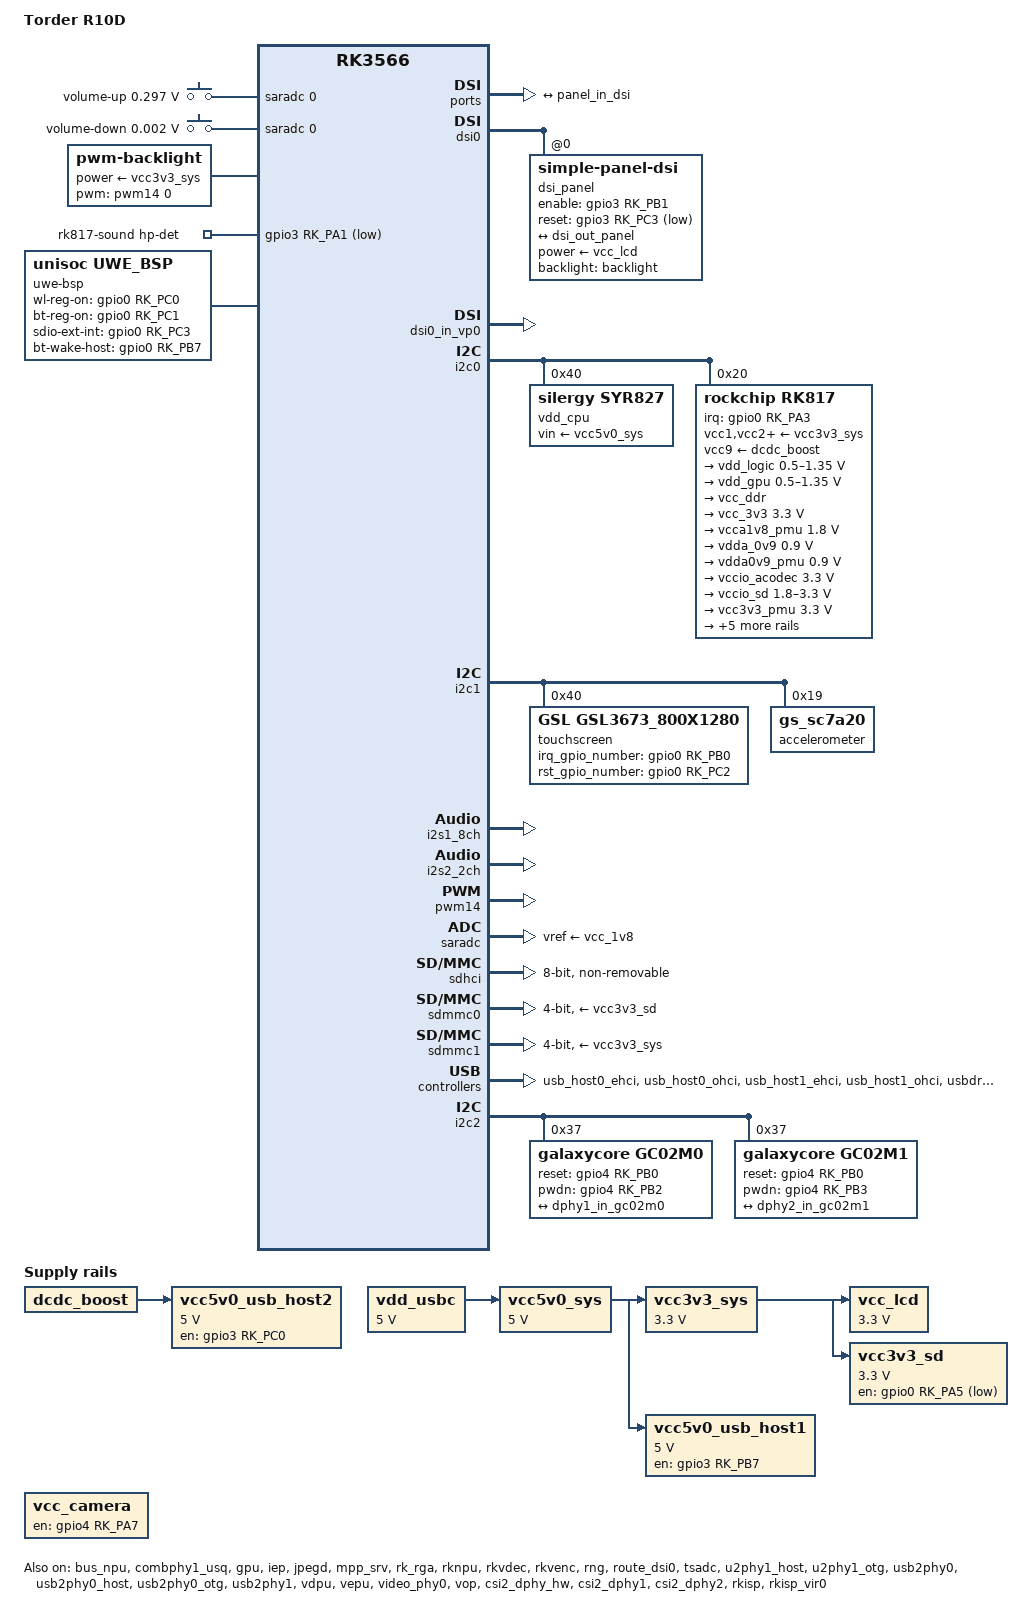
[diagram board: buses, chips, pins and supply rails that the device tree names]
// SPDX-License-Identifier: GPL-2.0-only
/*
 * Torder R10D tablet: board wiring and configuration for the vendor 6.1 kernel.
 * Board parameters were recovered from the stock Android 11 DTB.
 */
/dts-v1/;

#include "rk3566.dtsi"
#include <dt-bindings/gpio/gpio.h>
#include <dt-bindings/input/input.h>
#include <dt-bindings/pinctrl/rockchip.h>

/ {
	compatible = "torder,r10d", "rockchip,rk3566";
	model = "Torder R10D";

	chosen: chosen {
		bootargs = "earlycon=uart8250,mmio32,0xfe660000 console=ttyFIQ0,1500000 ";
	};

	fiq-debugger {
		compatible = "rockchip,fiq-debugger";
		rockchip,serial-id = <2>;
		rockchip,wake-irq = <0>;
		rockchip,irq-mode-enable = <1>;
		rockchip,baudrate = <1500000>;
		interrupts = <0 0xfc 8>;
		pinctrl-names = "default";
		pinctrl-0 = <&uart2m0_xfer>;
		status = "okay";
	};

	adc-keys {
		compatible = "adc-keys";
		io-channels = <&saradc 0>;
		io-channel-names = "buttons";
		keyup-threshold-microvolt = <1800000>;
		poll-interval = <100>;

		vol-up-key {
			label = "volume-up";
			linux,code = <KEY_VOLUMEUP>;
			press-threshold-microvolt = <297500>;
		};

		vol-down-key {
			label = "volume-down";
			linux,code = <KEY_VOLUMEDOWN>;
			press-threshold-microvolt = <1750>;
		};
	};

	backlight: backlight {
		compatible = "pwm-backlight";
		power-supply = <&vcc3v3_sys>;
		pwms = <&pwm14 0 25000 0>;
		brightness-levels = <
			0 20 20 21 21 22 22 23
			23 24 24 25 25 26 26 27
			27 28 28 29 29 30 30 31
			31 32 32 33 33 34 34 35
			35 36 36 37 37 38 38 39
			40 41 42 43 44 45 46 47
			48 49 50 51 52 53 54 55
			56 57 58 59 60 61 62 63
			64 65 66 67 68 69 70 71
			72 73 74 75 76 77 78 79
			80 81 82 83 84 85 86 87
			88 89 90 91 92 93 94 95
			96 97 98 99 100 101 102 103
			104 105 106 107 108 109 110 111
			112 113 114 115 116 117 118 119
			120 121 122 123 124 125 126 127
			128 129 130 131 132 133 134 135
			136 137 138 139 140 141 142 143
			144 145 146 147 148 149 150 151
			152 153 154 155 156 157 158 159
			160 161 162 163 164 165 166 167
			168 169 170 171 172 173 174 175
			176 177 178 179 180 181 182 183
			184 185 186 187 188 189 190 191
			192 193 194 195 196 197 198 199
			200 201 202 203 204 205 206 207
			208 209 210 211 212 213 214 215
			216 217 218 219 220 221 222 223
			224 225 226 227 228 229 230 231
			232 233 234 235 236 237 238 239
			240 241 242 243 244 245 246 247
			248 249 250 251 252 253 254 255
		>;
		default-brightness-level = <128>;
	};

	rk817-sound {
		compatible = "rockchip,multicodecs-card";
		rockchip,card-name = "rockchip-rk817";
		hp-det-gpio = <&gpio3 RK_PA1 GPIO_ACTIVE_LOW>;
		rockchip,format = "i2s";
		rockchip,mclk-fs = <256>;
		rockchip,cpu = <&i2s1_8ch>;
		rockchip,codec = <&rk817_codec>;
		pinctrl-names = "default";
		pinctrl-0 = <&hp_det>;
		status = "okay";
	};

	bt_sco: bt-sco {
		compatible = "delta,dfbmcs320";
		#sound-dai-cells = <0>;
		status = "okay";
	};

	bt-sound {
		compatible = "simple-audio-card";
		simple-audio-card,format = "dsp_b";
		simple-audio-card,bitclock-inversion = <1>;
		simple-audio-card,mclk-fs = <256>;
		simple-audio-card,name = "rockchip,bt";
		simple-audio-card,bitclock-master = <&bt_codec>;
		simple-audio-card,frame-master = <&bt_codec>;
		simple-audio-card,widgets = "Microphone", "RX", "Speaker", "TX";
		simple-audio-card,routing = "BT_SCO_TX", "RX", "TX", "BT_SCO_RX";

		bt_codec: simple-audio-card,codec {
			sound-dai = <&bt_sco>;
		};

		simple-audio-card,cpu {
			sound-dai = <&i2s2_2ch>;
		};
	};

	uwe-bsp {
		compatible = "unisoc,uwe_bsp";
		sdhci-name = <289>;
		wl-reg-on = <&gpio0 RK_PC0 GPIO_ACTIVE_HIGH>;
		bt-reg-on = <&gpio0 RK_PC1 GPIO_ACTIVE_HIGH>;
		sdio-ext-int-gpio = <&gpio0 RK_PC3 GPIO_ACTIVE_HIGH>;
		unisoc,btwf-file-name = "/lib/firmware/uwe5621ds/wcnmodem.bin";
		bt-wake-host;
		bt-wake-host-gpio = <&gpio0 RK_PB7 GPIO_ACTIVE_HIGH>;
		blksz-512;
		keep-power-on;
		sdma-tx;
		sdma-rx;
		status = "okay";
	};

	vdd_usbc: vdd-usbc-regulator {
		compatible = "regulator-fixed";
		regulator-name = "vdd_usbc";
		regulator-always-on;
		regulator-boot-on;
		regulator-min-microvolt = <5000000>;
		regulator-max-microvolt = <5000000>;
	};

	vcc3v3_sys: regulator-vcc3v3-sys {
		compatible = "regulator-fixed";
		regulator-name = "vcc3v3_sys";
		regulator-always-on;
		regulator-boot-on;
		regulator-min-microvolt = <3300000>;
		regulator-max-microvolt = <3300000>;
		vin-supply = <&vcc5v0_sys>;
	};

	vcc_lcd: regulator-vcc-lcd {
		compatible = "regulator-fixed";
		regulator-name = "vcc_lcd";
		regulator-always-on;
		regulator-boot-on;
		regulator-min-microvolt = <3300000>;
		regulator-max-microvolt = <3300000>;
		vin-supply = <&vcc3v3_sys>;
	};

	vcc5v0_sys: regulator-vcc5v0-sys {
		compatible = "regulator-fixed";
		regulator-name = "vcc5v0_sys";
		regulator-always-on;
		regulator-boot-on;
		regulator-min-microvolt = <5000000>;
		regulator-max-microvolt = <5000000>;
		vin-supply = <&vdd_usbc>;
	};

	vcc5v0_usb_host1: regulator-vcc5v0-usb2-host1 {
		compatible = "regulator-fixed";
		enable-active-high;
		gpio = <&gpio3 RK_PB7 GPIO_ACTIVE_HIGH>;
		pinctrl-names = "default";
		pinctrl-0 = <&vcc5v0_usb_host1_en>;
		regulator-name = "vcc5v0_usb2_host1";
		regulator-always-on;
		regulator-boot-on;
		regulator-min-microvolt = <5000000>;
		regulator-max-microvolt = <5000000>;
		vin-supply = <&vcc5v0_sys>;
	};

	vcc5v0_usb_host2: regulator-vcc5v0-usb2-host2 {
		compatible = "regulator-fixed";
		enable-active-high;
		gpio = <&gpio3 RK_PC0 GPIO_ACTIVE_HIGH>;
		pinctrl-names = "default";
		pinctrl-0 = <&vcc5v0_usb_host2_en>;
		regulator-name = "vcc5v0_usb2_host2";
		regulator-always-on;
		regulator-boot-on;
		regulator-min-microvolt = <5000000>;
		regulator-max-microvolt = <5000000>;
		vin-supply = <&dcdc_boost>;
	};

	vcc3v3_sd: vcc3v3_sd {
		compatible = "regulator-fixed";
		gpio = <&gpio0 RK_PA5 GPIO_ACTIVE_LOW>;
		pinctrl-names = "default";
		pinctrl-0 = <&vcc_sd_h>;
		regulator-boot-on;
		regulator-name = "vcc3v3_sd";
		regulator-min-microvolt = <3300000>;
		regulator-max-microvolt = <3300000>;
		vin-supply = <&vcc3v3_sys>;
	};

	vcc_camera: regulator-vcc-camera {
		compatible = "regulator-fixed";
		regulator-name = "vcc_camera";
		regulator-always-on;
		regulator-boot-on;
		enable-active-high;
		gpio = <&gpio4 RK_PA7 GPIO_ACTIVE_HIGH>;
		pinctrl-names = "default";
		pinctrl-0 = <&camera_power_en>;
	};
};

&{/dsi@fe060000/ports} {

	port@1 {
		reg = <1>;

		dsi_out_panel: endpoint {
			remote-endpoint = <&panel_in_dsi>;
		};
	};
};

&{/pinctrl/pmic} {

	pmic_int_l: pmic-int {
		rockchip,pins = <0 RK_PA3 0 &pcfg_pull_up>;
	};

	soc_slppin_gpio: soc_slppin_gpio {
		rockchip,pins = <0 RK_PA2 0 &pcfg_output_low>;
	};

	soc_slppin_slp: soc_slppin_slp {
		rockchip,pins = <0 RK_PA2 1 &pcfg_pull_none>;
	};

	soc_slppin_rst: soc_slppin_rst {
		rockchip,pins = <0 RK_PA2 2 &pcfg_pull_none>;
	};
};

&bus_npu {
	bus-supply = <&vdd_logic>;
	pvtm-supply = <&vdd_cpu>;
	status = "okay";
};

&combphy1_usq {
	status = "okay";
};

&cpu0 {
	cpu-supply = <&vdd_cpu>;
};

&cpu1 {
	cpu-supply = <&vdd_cpu>;
};

&cpu2 {
	cpu-supply = <&vdd_cpu>;
};

&cpu3 {
	cpu-supply = <&vdd_cpu>;
};

&dsi0 {
	status = "okay";

	dsi_panel: panel@0 {
		status = "okay";
		compatible = "simple-panel-dsi";
		reg = <0>;
		backlight = <&backlight>;
		enable-gpios = <&gpio3 RK_PB1 GPIO_ACTIVE_HIGH>;
		reset-gpios = <&gpio3 RK_PC3 GPIO_ACTIVE_LOW>;
		pinctrl-names = "default";
		pinctrl-0 = <&lcd_rst &lcd_en>;
		power-supply = <&vcc_lcd>;
		enable-delay-ms = <120>;
		prepare-delay-ms = <20>;
		reset-delay-ms = <20>;
		init-delay-ms = <20>;
		unprepare-delay-ms = <20>;
		disable-delay-ms = <20>;
		size,width = <135>;
		size,height = <216>;
		dsi,flags = <0x803>;
		dsi,format = <0>;
		dsi,lanes = <4>;
		panel-init-sequence = [
			15 00 02 e0 00 15 00 02 e1 93 15 00 02 e2 65 15
			00 02 e3 f8 15 00 02 80 03 15 00 02 e0 01 15 00
			02 00 00 15 00 02 01 3c 15 00 02 17 00 15 00 02
			0c 74 15 00 02 18 af 15 00 02 19 01 15 00 02 1a
			00 15 00 02 1b af 15 00 02 1c 01 15 00 02 1f 3e
			15 00 02 20 28 15 00 02 21 28 15 00 02 22 7e 15
			00 02 35 26 15 00 02 37 09 15 00 02 38 04 15 00
			02 39 00 15 00 02 3a 01 15 00 02 3c 7c 15 00 02
			3d ff 15 00 02 3e ff 15 00 02 3f 7f 15 00 02 40
			06 15 00 02 41 a0 15 00 02 42 81 15 00 02 43 08
			15 00 02 44 0b 15 00 02 45 28 15 00 02 55 02 15
			00 02 57 69 15 00 02 59 0a 15 00 02 5a 28 15 00
			02 5b 14 15 00 02 5d 7c 15 00 02 5e 65 15 00 02
			5f 55 15 00 02 60 47 15 00 02 61 43 15 00 02 62
			32 15 00 02 63 34 15 00 02 64 1c 15 00 02 65 33
			15 00 02 66 31 15 00 02 67 30 15 00 02 68 4e 15
			00 02 69 3c 15 00 02 6a 44 15 00 02 6b 35 15 00
			02 6c 31 15 00 02 6d 23 15 00 02 6e 11 15 00 02
			6f 00 15 00 02 70 7c 15 00 02 71 65 15 00 02 72
			55 15 00 02 73 47 15 00 02 74 43 15 00 02 75 32
			15 00 02 76 34 15 00 02 77 1c 15 00 02 78 33 15
			00 02 79 31 15 00 02 7a 30 15 00 02 7b 4e 15 00
			02 7c 3c 15 00 02 7d 44 15 00 02 7e 35 15 00 02
			7f 31 15 00 02 80 23 15 00 02 81 11 15 00 02 82
			00 15 00 02 e0 02 15 00 02 00 1e 15 00 02 01 1e
			15 00 02 02 41 15 00 02 03 41 15 00 02 04 43 15
			00 02 05 43 15 00 02 06 1f 15 00 02 07 1f 15 00
			02 08 35 15 00 02 09 1f 15 00 02 0a 15 15 00 02
			0b 15 15 00 02 0c 1f 15 00 02 0d 47 15 00 02 0e
			47 15 00 02 0f 45 15 00 02 10 45 15 00 02 11 4b
			15 00 02 12 4b 15 00 02 13 49 15 00 02 14 49 15
			00 02 15 1f 15 00 02 16 1e 15 00 02 17 1e 15 00
			02 18 40 15 00 02 19 40 15 00 02 1a 42 15 00 02
			1b 42 15 00 02 1c 1f 15 00 02 1d 1f 15 00 02 1e
			35 15 00 02 1f 1f 15 00 02 20 15 15 00 02 21 15
			15 00 02 22 1f 15 00 02 23 46 15 00 02 24 46 15
			00 02 25 44 15 00 02 26 44 15 00 02 27 4a 15 00
			02 28 4a 15 00 02 29 48 15 00 02 2a 48 15 00 02
			2b 1f 15 00 02 2c 1f 15 00 02 2d 1f 15 00 02 2e
			42 15 00 02 2f 42 15 00 02 30 40 15 00 02 31 40
			15 00 02 32 1e 15 00 02 33 1e 15 00 02 34 1f 15
			00 02 35 1f 15 00 02 36 1e 15 00 02 37 1e 15 00
			02 38 1f 15 00 02 39 48 15 00 02 3a 48 15 00 02
			3b 4a 15 00 02 3c 4a 15 00 02 3d 44 15 00 02 3e
			44 15 00 02 3f 46 15 00 02 40 46 15 00 02 41 1f
			15 00 02 42 1f 15 00 02 43 1f 15 00 02 44 43 15
			00 02 45 43 15 00 02 46 41 15 00 02 47 41 15 00
			02 48 1e 15 00 02 49 1e 15 00 02 4a 1e 15 00 02
			4b 1f 15 00 02 4c 1e 15 00 02 4d 1e 15 00 02 4e
			1f 15 00 02 4f 49 15 00 02 50 49 15 00 02 51 4b
			15 00 02 52 4b 15 00 02 53 45 15 00 02 54 45 15
			00 02 55 47 15 00 02 56 47 15 00 02 57 1f 15 00
			02 58 40 15 00 02 5b 30 15 00 02 5c 03 15 00 02
			5d 30 15 00 02 5e 01 15 00 02 5f 02 15 00 02 63
			14 15 00 02 64 6a 15 00 02 67 73 15 00 02 68 05
			15 00 02 69 14 15 00 02 6a 6a 15 00 02 6b 08 15
			00 02 6c 00 15 00 02 6d 06 15 00 02 6e 00 15 00
			02 6f 88 15 00 02 77 dd 15 00 02 79 0e 15 00 02
			7a 03 15 00 02 7d 14 15 00 02 7e 6a 15 00 02 e0
			04 15 00 02 09 11 15 00 02 0e 48 15 00 02 2d 03
			15 00 02 2b 08 15 00 02 2e 03 15 00 02 e0 00 15
			00 02 e6 02 15 00 02 e7 0c 05 78 01 11 05 64 01
			29
		];
		panel-exit-sequence = [05 01 01 28 05 03 01 10];

		disp_timings0: display-timings {
			native-mode = <&dsi_timing0>;

			dsi_timing0: timing0 {
				clock-frequency = <67431840>;
				hactive = <800>;
				vactive = <1280>;
				hsync-len = <18>;
				hback-porch = <18>;
				hfront-porch = <18>;
				vsync-len = <4>;
				vback-porch = <8>;
				vfront-porch = <24>;
				hsync-active = <0>;
				vsync-active = <0>;
				de-active = <0>;
				pixelclk-active = <1>;
			};
		};

		port {
			panel_in_dsi: endpoint {
				remote-endpoint = <&dsi_out_panel>;
			};
		};
	};
};

&dsi0_in_vp0 {
	status = "okay";
};

&gpu {
	status = "okay";
	mali-supply = <&vdd_gpu>;
};

&i2c0 {
	status = "okay";

	vdd_cpu: regulator@40 {
		compatible = "silergy,syr827";
		reg = <0x40>;
		regulator-compatible = "fan53555-reg";
		fcs,suspend-voltage-selector = <1>;
		regulator-name = "vdd_cpu";
		regulator-min-microvolt = <712500>;
		regulator-max-microvolt = <1390000>;
		regulator-ramp-delay = <2300>;
		regulator-always-on;
		regulator-boot-on;
		vin-supply = <&vcc5v0_sys>;

		regulator-state-mem {
			regulator-off-in-suspend;
		};
	};

	rk817: pmic@20 {
		compatible = "rockchip,rk817";
		reg = <0x20>;
		interrupt-parent = <&gpio0>;
		interrupts = <RK_PA3 IRQ_TYPE_LEVEL_LOW>;
		clock-output-names = "rk808-clkout1", "rk808-clkout2";
		#clock-cells = <1>;
		pinctrl-names = "default", "pmic-sleep", "pmic-power-off", "pmic-reset";
		pinctrl-0 = <&pmic_int_l>;
		pinctrl-1 = <&soc_slppin_slp &rk817_slppin_slp>;
		pinctrl-2 = <&soc_slppin_gpio &rk817_slppin_pwrdn>;
		pinctrl-3 = <&soc_slppin_gpio &rk817_slppin_rst>;
		rockchip,system-power-controller;
		#sound-dai-cells = <0>;
		wakeup-source;
		pmic-reset-func = <0>;
		not-save-power-en = <1>;
		vcc1-supply = <&vcc3v3_sys>;
		vcc2-supply = <&vcc3v3_sys>;
		vcc3-supply = <&vcc3v3_sys>;
		vcc4-supply = <&vcc3v3_sys>;
		vcc5-supply = <&vcc3v3_sys>;
		vcc6-supply = <&vcc3v3_sys>;
		vcc7-supply = <&vcc3v3_sys>;
		vcc8-supply = <&vcc3v3_sys>;
		vcc9-supply = <&dcdc_boost>;

		pwrkey {
			status = "okay";
		};

		pinctrl_rk8xx: pinctrl_rk8xx {
			gpio-controller;
			#gpio-cells = <2>;

			rk817_slppin_slp: rk817_slppin_slp {
				pins = "gpio_slp";
				function = "pin_fun1";
			};

			rk817_slppin_pwrdn: rk817_slppin_pwrdn {
				pins = "gpio_slp";
				function = "pin_fun2";
			};

			rk817_slppin_rst: rk817_slppin_rst {
				pins = "gpio_slp";
				function = "pin_fun3";
			};
		};

		regulators {

			vdd_logic: DCDC_REG1 {
				regulator-always-on;
				regulator-boot-on;
				regulator-min-microvolt = <500000>;
				regulator-max-microvolt = <1350000>;
				regulator-ramp-delay = <6001>;
				regulator-initial-mode = <2>;
				regulator-name = "vdd_logic";

				regulator-state-mem {
					regulator-on-in-suspend;
					regulator-suspend-microvolt = <900000>;
				};
			};

			vdd_gpu: DCDC_REG2 {
				regulator-always-on;
				regulator-boot-on;
				regulator-min-microvolt = <500000>;
				regulator-max-microvolt = <1350000>;
				regulator-ramp-delay = <6001>;
				regulator-initial-mode = <2>;
				regulator-name = "vdd_gpu";

				regulator-state-mem {
					regulator-off-in-suspend;
				};
			};

			vcc_ddr: DCDC_REG3 {
				regulator-always-on;
				regulator-boot-on;
				regulator-initial-mode = <2>;
				regulator-name = "vcc_ddr";

				regulator-state-mem {
					regulator-on-in-suspend;
				};
			};

			vcc_3v3: DCDC_REG4 {
				regulator-always-on;
				regulator-boot-on;
				regulator-min-microvolt = <3300000>;
				regulator-max-microvolt = <3300000>;
				regulator-initial-mode = <2>;
				regulator-name = "vcc_3v3";

				regulator-state-mem {
					regulator-off-in-suspend;
				};
			};

			vcca1v8_pmu: LDO_REG1 {
				regulator-always-on;
				regulator-boot-on;
				regulator-min-microvolt = <1800000>;
				regulator-max-microvolt = <1800000>;
				regulator-name = "vcca1v8_pmu";

				regulator-state-mem {
					regulator-on-in-suspend;
					regulator-suspend-microvolt = <1800000>;
				};
			};

			vdda_0v9: LDO_REG2 {
				regulator-always-on;
				regulator-boot-on;
				regulator-min-microvolt = <900000>;
				regulator-max-microvolt = <900000>;
				regulator-name = "vdda_0v9";

				regulator-state-mem {
					regulator-off-in-suspend;
				};
			};

			vdda0v9_pmu: LDO_REG3 {
				regulator-always-on;
				regulator-boot-on;
				regulator-min-microvolt = <900000>;
				regulator-max-microvolt = <900000>;
				regulator-name = "vdda0v9_pmu";

				regulator-state-mem {
					regulator-on-in-suspend;
					regulator-suspend-microvolt = <900000>;
				};
			};

			vccio_acodec: LDO_REG4 {
				regulator-always-on;
				regulator-boot-on;
				regulator-min-microvolt = <3300000>;
				regulator-max-microvolt = <3300000>;
				regulator-name = "vccio_acodec";

				regulator-state-mem {
					regulator-off-in-suspend;
				};
			};

			vccio_sd: LDO_REG5 {
				regulator-always-on;
				regulator-boot-on;
				regulator-min-microvolt = <1800000>;
				regulator-max-microvolt = <3300000>;
				regulator-name = "vccio_sd";

				regulator-state-mem {
					regulator-off-in-suspend;
				};
			};

			vcc3v3_pmu: LDO_REG6 {
				regulator-always-on;
				regulator-boot-on;
				regulator-min-microvolt = <3300000>;
				regulator-max-microvolt = <3300000>;
				regulator-name = "vcc3v3_pmu";

				regulator-state-mem {
					regulator-on-in-suspend;
					regulator-suspend-microvolt = <3300000>;
				};
			};

			vcc_1v8: LDO_REG7 {
				regulator-always-on;
				regulator-boot-on;
				regulator-min-microvolt = <1800000>;
				regulator-max-microvolt = <1800000>;
				regulator-name = "vcc_1v8";

				regulator-state-mem {
					regulator-off-in-suspend;
				};
			};

			vcc1v8_dvp: LDO_REG8 {
				regulator-always-on;
				regulator-boot-on;
				regulator-min-microvolt = <1800000>;
				regulator-max-microvolt = <1800000>;
				regulator-name = "vcc1v8_dvp";

				regulator-state-mem {
					regulator-off-in-suspend;
				};
			};

			vcc2v8_dvp: LDO_REG9 {
				regulator-always-on;
				regulator-boot-on;
				regulator-min-microvolt = <2800000>;
				regulator-max-microvolt = <2800000>;
				regulator-name = "vcc2v8_dvp";

				regulator-state-mem {
					regulator-off-in-suspend;
				};
			};

			dcdc_boost: BOOST {
				regulator-always-on;
				regulator-boot-on;
				regulator-min-microvolt = <5200000>;
				regulator-max-microvolt = <5400000>;
				regulator-name = "boost";

				regulator-state-mem {
					regulator-off-in-suspend;
				};
			};

			otg_switch: OTG_SWITCH {
				regulator-name = "otg_switch";

				regulator-state-mem {
					regulator-off-in-suspend;
				};
			};
		};

		battery {
			compatible = "rk817,battery";
			ocv_table = <
				3400 3466 3496 3535 3569 3595 3610 3623
				3637 3653 3683 3724 3759 3799 3825 3845
				3896 3950 3980 4050 4090
			>;
			ntc_table = <
				45067 42950 40946 39048 37251 35548 33934 32403
				30952 29574 28267 27025 25846 24726 23661 22649
				21686 20771 19899 19070 18280 17527 16810 16127
				15476 14855 14262 13697 13157 12642 12150 11680
				11231 10802 10392 10000 9624 9265 8922 8593
				8278 7977 7688 7411 7146 6891 6648 6414
				6189 5974 5768 5569 5379 5196 5020 4852
				4689 4533 4384 4239 4101 3967 3839 3716
				3597 3482 3372 3266 3163 3065 2970 2878
				2790 2705 2623 2544 2467 2394 2322 2254
				2187 2123 2062 2002 1944 1888 1834 1782
				1732 1683 1636
			>;
			ntc_degree_from = <1 0xa>;
			design_capacity = <4800>;
			design_qmax = <5200>;
			bat_res = <110>;
			sleep_enter_current = <150>;
			sleep_exit_current = <180>;
			sleep_filter_current = <100>;
			power_off_thresd = <3400>;
			zero_algorithm_vol = <3650>;
			max_soc_offset = <60>;
			monitor_sec = <5>;
			sample_res = <10>;
			virtual_power = <0>;

		};

		charger {
			compatible = "rk817,charger";
			min_input_voltage = <4500>;
			max_input_current = <1500>;
			max_chrg_current = <2000>;
			max_chrg_voltage = <4100>;
			chrg_term_mode = <0>;
			chrg_finish_cur = <300>;
			virtual_power = <0>;
			dc_det_adc = <0>;
			extcon = <&usb2phy0>;
			otg_switch-supply = <&otg_switch>;
		};

		rk817_codec: codec {
			#sound-dai-cells = <0>;
			compatible = "rockchip,rk817-codec";
			clocks = <&cru I2S1_MCLKOUT>;
			clock-names = "mclk";
			assigned-clocks = <&cru I2S1_MCLKOUT &cru I2S1_MCLK_TX_IOE>;
			assigned-clock-rates = <0xbb8000>;
			assigned-clock-parents = <&cru I2S1_MCLKOUT_TX &cru I2S1_MCLKOUT_TX>;
			pinctrl-names = "default";
			pinctrl-0 = <&i2s1m0_mclk>;
			hp-volume = <20>;
			spk-volume = <15>;
			use-ext-amplifier;
			spk-ctl-gpios = <&gpio3 RK_PA2 GPIO_ACTIVE_HIGH>;
			status = "okay";
		};
	};
};

&i2c1 {
	status = "okay";

	touchscreen@40 {
		compatible = "GSL,GSL3673_800X1280";
		reg = <0x40>;
		irq_gpio_number = <&gpio0 RK_PB0 2>;
		rst_gpio_number = <&gpio0 RK_PC2 GPIO_ACTIVE_HIGH>;
		pinctrl-names = "default";
		pinctrl-0 = <&ts_int>;
	};

	accelerometer@19 {
		compatible = "gs_sc7a20";
		reg = <0x19>;
		type = <2>;
		irq_enable = <0>;
		poll_delay_ms = <10>;
		layout = <6>;
		reprobe_en = <0>;
		swap_xy = <1>;
		revert_x = <1>;
		revert_y = <0>;
		revert_z = <0>;
	};
};

&i2s1_8ch {
	pinctrl-0 = <&i2s1m0_sclktx &i2s1m0_lrcktx &i2s1m0_sdi0 &i2s1m0_sdo0>;
	status = "okay";
	rockchip,clk-trcm = <1>;
};

&i2s2_2ch {
	status = "okay";
};

&iep {
	status = "okay";
};

&iep_mmu {
	status = "okay";
};

&jpegd {
	status = "okay";
};

&jpegd_mmu {
	status = "okay";
};

&mpp_srv {
	status = "okay";
};

&pinctrl {

	usb {

		vcc5v0_usb_host1_en: vcc5v0-usb-host1-en {
			rockchip,pins = <3 RK_PB7 0 &pcfg_pull_none>;
		};

		vcc5v0_usb_host2_en: vcc5v0-usb-host2-en {
			rockchip,pins = <3 RK_PC0 0 &pcfg_pull_none>;
		};
	};

	vcc_sd {

		vcc_sd_h: vcc-sd-h {
			rockchip,pins = <0 RK_PA5 0 &pcfg_pull_none>;
		};
	};

	lcd {

		lcd_rst: lcd-rst-gpio {
			rockchip,pins = <3 RK_PC3 0 &pcfg_pull_none>;
		};

		lcd_en: lcd-enable-gpio {
			rockchip,pins = <3 RK_PB1 0 &pcfg_pull_none>;
		};
	};

	hp-detect {

		hp_det: hp-det {
			rockchip,pins = <3 RK_PA1 0 &pcfg_pull_none>;
		};
	};

	ts {

		ts_int: ts-int {
			rockchip,pins = <0 RK_PB0 0 &pcfg_pull_up>;
		};
	};

	camera {
		camera_power_en: camera-power-en {
			rockchip,pins = <4 RK_PA7 RK_FUNC_GPIO &pcfg_pull_none>;
		};
	};
};

&pmu_io_domains {
	status = "okay";
	pmuio1-supply = <&vcc3v3_pmu>;
	pmuio2-supply = <&vcca1v8_pmu>;
	vccio1-supply = <&vccio_acodec>;
	vccio3-supply = <&vccio_sd>;
	vccio4-supply = <&vcc_1v8>;
	vccio5-supply = <&vcc_3v3>;
	vccio6-supply = <&vcc1v8_dvp>;
	vccio7-supply = <&vcc_3v3>;
};

&pwm14 {
	status = "okay";
};

&reserved_memory {

	ramoops: ramoops@110000 {
		compatible = "ramoops";
		reg = <0 0x110000 0 0xf0000>;
		record-size = <0x20000>;
		console-size = <0x80000>;
		ftrace-size = <0>;
		pmsg-size = <0x50000>;
	};

};

&rk_rga {
	status = "okay";
};

&rknpu {
	rknpu-supply = <&vdd_gpu>;
	status = "okay";
};

&rknpu_mmu {
	status = "okay";
};

&rkvdec {
	status = "okay";
};

&rkvdec_mmu {
	status = "okay";
};

&rkvenc {
	status = "okay";
};

&rkvenc_mmu {
	status = "okay";
};

&rng {
	status = "okay";
};

&rockchip_suspend {
	status = "okay";
};

&route_dsi0 {
	status = "okay";
};

&saradc {
	status = "okay";
	vref-supply = <&vcc_1v8>;
};

&sdhci {
	status = "okay";
	bus-width = <8>;
	max-frequency = <120000000>;
	mmc-hs200-1_8v;
	non-removable;
	pinctrl-names = "default";
	pinctrl-0 = <&emmc_bus8 &emmc_clk &emmc_cmd>;
};

&sdmmc0 {
	status = "okay";
	bus-width = <4>;
	cap-mmc-highspeed;
	cap-sd-highspeed;
	disable-wp;
	sd-uhs-sdr104;
	pinctrl-names = "default";
	pinctrl-0 = <&sdmmc0_bus4 &sdmmc0_clk &sdmmc0_cmd &sdmmc0_det>;
	vmmc-supply = <&vcc3v3_sd>;
	vqmmc-supply = <&vccio_sd>;
};

&sdmmc1 {
	status = "okay";
	bus-width = <4>;
	cap-sd-highspeed;
	cap-sdio-irq;
	supports-sdio;
	disable-wp;
	keep-power-in-suspend;
	broken-cd;
	pinctrl-names = "default";
	pinctrl-0 = <&sdmmc1_bus4 &sdmmc1_cmd &sdmmc1_clk>;
	sd-uhs-sdr104;
	rockchip,default-sample-phase = <90>;
	vmmc-supply = <&vcc3v3_sys>;
	vqmmc-supply = <&vcc_1v8>;
};

&tsadc {
	status = "okay";
};

&u2phy1_host {
	status = "okay";
	phy-supply = <&vcc5v0_usb_host1>;
};

&u2phy1_otg {
	status = "okay";
	phy-supply = <&vcc5v0_usb_host1>;
};

&usb2phy0 {
	status = "okay";
};

&usb2phy0_host {
	status = "okay";
	phy-supply = <&vcc5v0_usb_host1>;
};

&usb2phy0_otg {
	status = "okay";
};

&usb2phy1 {
	status = "okay";
};

&usb_host0_ehci {
	status = "okay";
};

&usb_host0_ohci {
	status = "okay";
};

&usb_host1_ehci {
	status = "okay";
};

&usb_host1_ohci {
	status = "okay";
};

&usbdrd30 {
	status = "okay";
};

&usbdrd_dwc3 {
	status = "okay";
};

&vdpu {
	status = "okay";
};

&vdpu_mmu {
	status = "okay";
};

&vepu {
	status = "okay";
};

&vepu_mmu {
	status = "okay";
};

&video_phy0 {
	status = "okay";
};

&vop {
	status = "okay";
	support-multi-area;
	assigned-clocks = <&cru DCLK_VOP0 &cru DCLK_VOP1>;
	assigned-clock-parents = <&pmucru PLL_HPLL &cru PLL_VPLL>;
};

&vop_mmu {
	status = "okay";
};

&csi2_dphy_hw {
	status = "okay";
};

&csi2_dphy1 {
	status = "okay";
	ports {
		#address-cells = <1>;
		#size-cells = <0>;
		port@0 {
			reg = <0>;
			dphy1_in_gc02m0: endpoint {
				remote-endpoint = <&gc02m0_out>;
				data-lanes = <1>;
			};
		};
		port@1 {
			reg = <1>;
			dphy1_out_isp: endpoint {
				remote-endpoint = <&isp_in_gc02m0>;
			};
		};
	};
};

&csi2_dphy2 {
	status = "okay";
	ports {
		#address-cells = <1>;
		#size-cells = <0>;
		port@0 {
			reg = <0>;
			dphy2_in_gc02m1: endpoint {
				remote-endpoint = <&gc02m1_out>;
				data-lanes = <1>;
			};
		};
		port@1 {
			reg = <1>;
			dphy2_out_isp: endpoint {
				remote-endpoint = <&isp_in_gc02m1>;
			};
		};
	};
};

&i2c2 {
	status = "okay";
	pinctrl-names = "default";
	/* Both sensors share this clock output. */
	pinctrl-0 = <&i2c2m1_xfer &cif_clk>;

	gc02m0: camera-rear@37 {
		compatible = "galaxycore,gc02m0";
		reg = <0x37>;
		clocks = <&cru CLK_CIF_OUT>;
		clock-names = "xvclk";
		power-domains = <&power RK3568_PD_VI>;
		reset-gpios = <&gpio4 RK_PB0 GPIO_ACTIVE_HIGH>;
		pwdn-gpios = <&gpio4 RK_PB2 GPIO_ACTIVE_HIGH>;
		rockchip,camera-module-index = <0>;
		rockchip,camera-module-facing = "back";
		rockchip,camera-module-name = "KYT-4877-V01";
		rockchip,camera-module-lens-name = "default";
		port {
			gc02m0_out: endpoint {
				remote-endpoint = <&dphy1_in_gc02m0>;
				data-lanes = <1>;
			};
		};
	};

	gc02m1: camera-front@37 {
		compatible = "galaxycore,gc02m1";
		reg = <0x37>;
		clocks = <&cru CLK_CIF_OUT>;
		clock-names = "xvclk";
		power-domains = <&power RK3568_PD_VI>;
		reset-gpios = <&gpio4 RK_PB0 GPIO_ACTIVE_HIGH>;
		pwdn-gpios = <&gpio4 RK_PB3 GPIO_ACTIVE_HIGH>;
		rockchip,camera-module-index = <1>;
		rockchip,camera-module-facing = "front";
		rockchip,camera-module-name = "KYT-4877-V01";
		rockchip,camera-module-lens-name = "default";
		port {
			gc02m1_out: endpoint {
				remote-endpoint = <&dphy2_in_gc02m1>;
				data-lanes = <1>;
			};
		};
	};
};

&rkisp {
	status = "okay";
};

&rkisp_mmu {
	status = "okay";
};

&rkisp_vir0 {
	status = "okay";
	port {
		#address-cells = <1>;
		#size-cells = <0>;
		isp_in_gc02m0: endpoint@0 {
			reg = <0>;
			remote-endpoint = <&dphy1_out_isp>;
		};
		isp_in_gc02m1: endpoint@1 {
			reg = <1>;
			remote-endpoint = <&dphy2_out_isp>;
		};
	};
};
